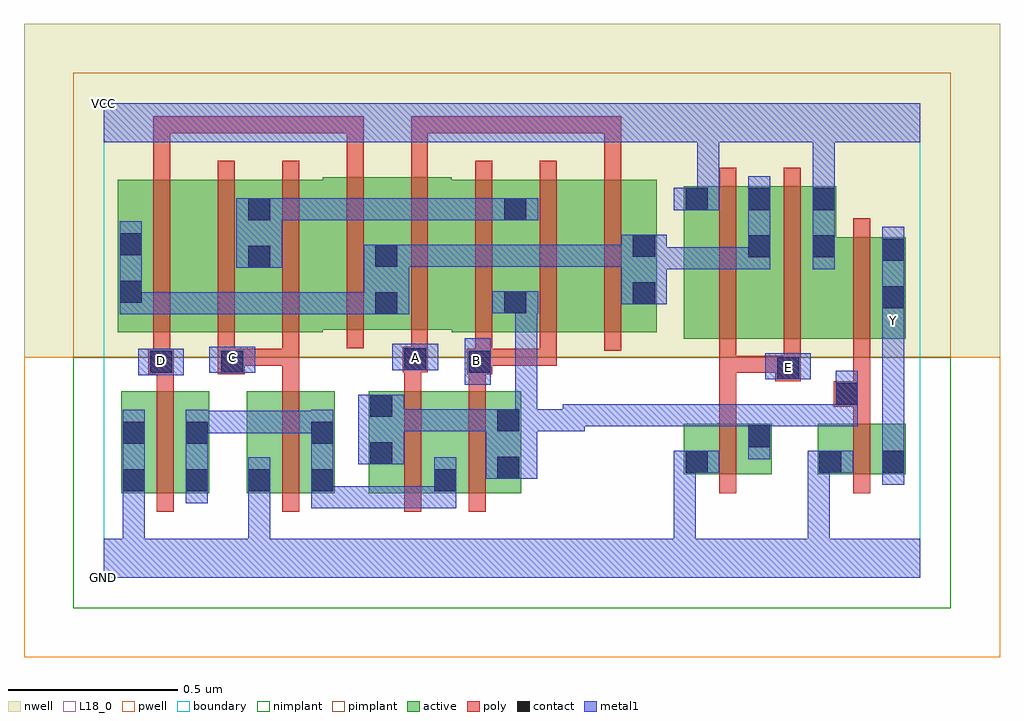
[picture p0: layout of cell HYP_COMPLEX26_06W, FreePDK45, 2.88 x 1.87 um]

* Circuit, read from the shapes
.subckt HYP_COMPLEX26_06W A B C D E GND VCC Y
M1 n1 D GND VSUBS nfet w=0.3u l=0.05u
M2 n1 C GND VSUBS nfet w=0.3u l=0.05u
M3 n1 A n2 VSUBS nfet w=0.3u l=0.05u
M4 n2 B n1 VSUBS nfet w=0.3u l=0.05u
M5 n2 E GND VSUBS nfet w=0.15u l=0.05u
M6 Y n2 GND VSUBS nfet w=0.15u l=0.05u
M7 n3 D n4 n5 pfet w=0.45u l=0.05u
M8 n2 C n3 n5 pfet w=0.45u l=0.05u
M9 n6 C n2 n5 pfet w=0.45u l=0.05u
M10 n4 D n6 n5 pfet w=0.45u l=0.05u
M11 n7 A n4 n5 pfet w=0.45u l=0.05u
M12 n2 B n7 n5 pfet w=0.45u l=0.05u
M13 n8 B n2 n5 pfet w=0.45u l=0.05u
M14 n4 A n8 n5 pfet w=0.45u l=0.05u
M15 n4 E VCC n5 pfet w=0.45u l=0.05u m=2
M16 Y n2 VCC n5 pfet w=0.3u l=0.05u
.ends

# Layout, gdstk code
import gdstk
lib = gdstk.Library(unit=1e-6, precision=1e-09)
def R(c, l, rs):  # rectangles x0, y0, x1, y1
    for r in rs: c.add(gdstk.rectangle(r[:2], r[2:], *l))
def A(c, l, x, y, w, h, nx, ny, dx, dy):  # array of equal rectangles
    R(c, l, [(x+i*dx, y+j*dy, x+i*dx+w, y+j*dy+h) for i in range(nx) for j in range(ny)])
active = (1, 0)
pwell = (2, 0)
nwell = (3, 0)
nimplant = (4, 0)
pimplant = (5, 0)
poly = (9, 0)
contact = (10, 0)
metal1 = (11, 0)
L18_0 = (18, 0)
boundary = (235, 0)

hyp_complex26_06w = lib.new_cell('HYP_COMPLEX26_06W')
A(hyp_complex26_06w, active, 0.052, 0.25, 0.075, 0.3, 4, 1, 0.185, 0)
R(hyp_complex26_06w, active, [(0.052,0.25,0.312,0.55), (0.422,0.25,0.682,0.55), (0.782,0.25,1.045,0.55), (0.97,0.25,1.232,0.55), (0.97,0.25,1.045,0.422), (1.157,0.257,1.232,0.55), (0.782,0.295,0.857,0.55), (1.712,0.305,1.787,0.455), (1.712,0.305,1.972,0.455), (1.897,0.305,1.972,0.455), (2.107,0.305,2.182,0.455), (2.107,0.305,2.367,0.455), (2.292,0.305,2.367,0.455), (1.712,0.705,1.787,1.155), (1.712,0.705,1.972,1.155), (1.897,0.705,1.972,1.155), (1.897,0.705,2.162,1.155), (2.087,0.705,2.367,1.005), (2.087,0.705,2.162,1.155), (2.292,0.705,2.367,1.005), (0.042,0.725,0.117,1.155), (0.042,0.725,0.267,1.175), (0.267,0.725,0.497,1.175), (0.422,0.725,0.497,1.175), (0.422,0.725,0.647,1.175), (1.027,0.725,1.252,1.175), (1.177,0.725,1.252,1.175), (1.177,0.725,1.407,1.175), (1.407,0.725,1.632,1.175), (1.557,0.725,1.632,1.155), (0.647,0.732,0.872,1.182), (0.797,0.732,1.027,1.182), (0.797,0.732,0.872,1.07)])
R(hyp_complex26_06w, pwell, [(-0.235,-0.235,2.645,0.65)])
R(hyp_complex26_06w, nwell, [(-0.235,0.65,2.645,1.635)])
R(hyp_complex26_06w, nimplant, [(-0.09,-0.09,2.5,0.65)])
R(hyp_complex26_06w, pimplant, [(-0.09,0.65,2.5,1.49)])
A(hyp_complex26_06w, poly, 0.147, 0.625, 0.05, 0.095, 3, 1, 0.19, 0)
A(hyp_complex26_06w, poly, 0.147, 0.67, 0.05, 0.56, 3, 1, 0.19, 0)
A(hyp_complex26_06w, poly, 1.097, 0.67, 0.05, 0.56, 3, 1, 0.19, 0)
R(hyp_complex26_06w, poly, [(0.157,0.195,0.207,0.605), (0.527,0.195,0.577,0.605), (0.887,0.195,0.937,0.605), (1.077,0.195,1.127,0.605), (1.817,0.25,1.867,0.51), (2.212,0.25,2.262,0.51), (1.817,0.46,1.867,0.655), (2.212,0.46,2.262,0.555), (2.155,0.505,2.262,0.58), (2.212,0.53,2.262,0.7), (0.157,0.555,0.207,0.65), (0.527,0.555,0.577,0.675), (0.887,0.555,0.937,0.657), (1.077,0.555,1.127,0.65), (1.982,0.58,2.057,0.655), (0.132,0.6,0.207,0.675), (0.337,0.6,0.417,0.675), (1.072,0.6,1.147,0.675), (1.817,0.605,1.867,0.7), (1.817,0.605,1.867,0.655), (1.817,0.605,2.032,0.655), (1.982,0.605,2.032,0.655), (1.982,0.605,2.032,0.655), (2.007,0.605,2.057,0.7), (0.882,0.607,0.957,0.682), (0.367,0.625,0.577,0.675), (0.527,0.625,0.577,0.675), (0.527,0.625,0.577,0.675), (0.527,0.625,0.577,0.675), (1.097,0.625,1.147,0.72), (1.097,0.625,1.337,0.675), (1.287,0.625,1.337,0.72), (1.287,0.625,1.337,0.675), (1.287,0.625,1.337,0.675), (1.287,0.625,1.337,0.675), (0.907,0.632,0.957,0.727), (1.817,0.65,1.867,1.21), (2.007,0.65,2.057,1.21), (2.212,0.65,2.262,1.06), (0.717,0.677,0.767,1.237), (0.907,0.677,0.957,1.237), (0.147,1.18,0.197,1.362), (1.477,1.18,1.527,1.362), (0.717,1.187,0.767,1.362), (0.907,1.187,0.957,1.362), (0.147,1.312,0.197,1.362), (0.147,1.312,0.33,1.362), (0.28,1.312,0.33,1.362), (0.28,1.312,0.33,1.362), (0.28,1.312,0.33,1.362), (0.28,1.312,0.55,1.362), (0.5,1.312,0.55,1.362), (0.5,1.312,0.55,1.362), (0.5,1.312,0.55,1.362), (0.5,1.312,0.767,1.362), (0.717,1.312,0.767,1.362), (0.717,1.312,0.767,1.362), (0.717,1.312,0.767,1.362), (0.907,1.312,0.957,1.362), (0.907,1.312,0.957,1.362), (0.907,1.312,0.957,1.362), (0.907,1.312,1.09,1.362), (1.04,1.312,1.09,1.362), (1.04,1.312,1.28,1.362), (1.23,1.312,1.28,1.362), (1.23,1.312,1.28,1.362), (1.23,1.312,1.28,1.362), (1.23,1.312,1.527,1.362), (1.477,1.312,1.527,1.362), (1.477,1.312,1.527,1.362), (1.477,1.312,1.527,1.362)])
A(hyp_complex26_06w, contact, 0.057, 0.255, 0.065, 0.065, 4, 1, 0.185, 0)
R(hyp_complex26_06w, contact, [(0.975,0.255,1.04,0.32), (1.162,0.292,1.227,0.357), (1.717,0.31,1.782,0.375), (2.112,0.31,2.177,0.375), (2.297,0.31,2.362,0.375), (0.787,0.335,0.852,0.4), (1.902,0.385,1.967,0.45), (0.057,0.395,0.122,0.46), (0.242,0.395,0.307,0.46), (0.612,0.395,0.677,0.46), (1.162,0.432,1.227,0.497), (0.787,0.475,0.852,0.54), (2.16,0.51,2.225,0.575), (1.987,0.585,2.052,0.65), (0.137,0.605,0.202,0.67), (0.347,0.605,0.412,0.67), (1.077,0.605,1.142,0.67), (0.887,0.612,0.952,0.677), (0.802,0.777,0.867,0.842), (1.182,0.78,1.247,0.845), (2.297,0.795,2.362,0.86), (1.562,0.807,1.627,0.872), (0.047,0.812,0.112,0.877), (0.427,0.915,0.492,0.98), (0.802,0.917,0.867,0.982), (2.297,0.935,2.362,1), (1.902,0.945,1.967,1.01), (2.092,0.945,2.157,1.01), (1.562,0.947,1.627,1.012), (0.047,0.952,0.112,1.017), (0.427,1.055,0.492,1.12), (1.182,1.055,1.247,1.12), (1.717,1.085,1.782,1.15), (1.902,1.085,1.967,1.15), (2.092,1.085,2.157,1.15)])
R(hyp_complex26_06w, metal1, [(0,0,2.41,0.115), (0.057,0.05,0.122,0.285), (0.427,0.05,0.492,0.115), (0.427,0.05,0.492,0.115), (0.427,0.05,0.492,0.115), (0.427,0.05,0.492,0.115), (0.427,0.05,0.492,0.285), (1.682,0.05,1.747,0.115), (1.682,0.05,1.747,0.115), (1.682,0.05,1.747,0.115), (1.682,0.05,1.747,0.115), (1.682,0.05,1.747,0.375), (2.077,0.05,2.142,0.115), (2.077,0.05,2.142,0.115), (2.077,0.05,2.142,0.115), (2.077,0.05,2.142,0.115), (2.077,0.05,2.142,0.115), (2.077,0.05,2.142,0.115), (2.077,0.05,2.142,0.375), (0.612,0.205,0.677,0.27), (0.612,0.205,0.677,0.27), (0.612,0.205,0.677,0.27), (0.612,0.205,0.815,0.27), (0.612,0.205,0.677,0.285), (0.75,0.205,0.815,0.27), (0.75,0.205,0.815,0.27), (0.75,0.205,0.815,0.27), (0.75,0.205,1.04,0.27), (0.975,0.205,1.04,0.355), (0.057,0.22,0.122,0.285), (0.057,0.22,0.122,0.285), (0.057,0.22,0.122,0.285), (0.057,0.22,0.122,0.285), (0.057,0.22,0.122,0.495), (0.242,0.22,0.307,0.495), (0.427,0.22,0.492,0.355), (0.612,0.22,0.677,0.495), (2.297,0.275,2.362,0.41), (1.127,0.292,1.28,0.497), (1.682,0.31,1.747,0.375), (1.682,0.31,1.747,0.375), (1.682,0.31,1.817,0.375), (2.077,0.31,2.212,0.375), (0.752,0.335,0.887,0.54), (2.297,0.345,2.362,0.757), (1.902,0.35,1.967,0.512), (0.242,0.427,0.307,0.492), (0.242,0.427,0.307,0.492), (0.242,0.427,0.54,0.492), (0.475,0.427,0.54,0.492), (0.475,0.427,0.54,0.492), (0.475,0.427,0.54,0.492), (0.475,0.427,0.677,0.492), (0.822,0.432,0.887,0.497), (0.822,0.432,0.887,0.497), (0.822,0.432,1.055,0.497), (0.99,0.432,1.055,0.497), (0.99,0.432,1.055,0.497), (0.99,0.432,1.055,0.497), (0.99,0.432,1.192,0.497), (1.215,0.432,1.42,0.497), (1.215,0.432,1.28,0.845), (1.355,0.432,1.42,0.512), (1.355,0.447,1.42,0.512), (1.355,0.447,1.42,0.512), (1.355,0.447,1.61,0.512), (1.545,0.447,1.61,0.512), (1.545,0.447,1.61,0.512), (1.545,0.447,1.61,0.512), (1.545,0.447,1.8,0.512), (1.735,0.447,1.8,0.512), (1.735,0.447,1.8,0.512), (1.735,0.447,1.8,0.512), (1.735,0.447,1.967,0.512), (1.902,0.447,1.967,0.512), (1.902,0.447,1.967,0.512), (1.902,0.447,2.225,0.512), (2.16,0.447,2.225,0.512), (2.16,0.447,2.225,0.54), (2.16,0.475,2.225,0.54), (2.16,0.475,2.225,0.54), (2.16,0.475,2.225,0.61), (1.065,0.57,1.142,0.707), (1.952,0.585,2.087,0.662), (0.102,0.597,0.237,0.675), (0.312,0.605,0.447,0.682), (0.852,0.612,0.987,0.69), (2.297,0.692,2.362,0.827), (2.297,0.76,2.362,0.825), (2.297,0.76,2.362,1.035), (0.047,0.777,0.112,0.842), (0.047,0.777,0.112,0.842), (0.047,0.777,0.112,1.052), (0.047,0.777,0.307,0.842), (0.242,0.777,0.307,0.842), (0.242,0.777,0.307,0.842), (0.242,0.777,0.307,0.842), (0.242,0.777,0.445,0.842), (0.38,0.777,0.445,0.842), (0.38,0.777,0.445,0.842), (0.38,0.777,0.445,0.842), (0.38,0.777,0.677,0.842), (0.612,0.777,0.677,0.842), (0.612,0.777,0.677,0.842), (0.612,0.777,0.677,0.842), (0.612,0.777,0.832,0.842), (0.767,0.777,0.902,0.982), (1.147,0.78,1.282,0.845), (1.215,0.78,1.28,0.845), (1.215,0.78,1.28,0.845), (1.527,0.807,1.662,1.012), (1.597,0.91,1.8,0.975), (1.735,0.91,1.8,0.975), (1.735,0.91,1.8,0.975), (1.735,0.91,1.8,0.975), (1.735,0.91,1.967,0.975), (1.902,0.91,1.967,1.185), (2.092,0.91,2.157,1.185), (0.392,0.915,0.527,1.12), (0.837,0.917,0.902,0.982), (0.837,0.917,0.902,0.982), (0.837,0.917,1.055,0.982), (0.99,0.917,1.055,0.982), (0.99,0.917,1.055,0.982), (0.99,0.917,1.055,0.982), (0.99,0.917,1.055,0.982), (0.99,0.917,1.055,0.982), (0.99,0.917,1.28,0.982), (1.215,0.917,1.28,0.982), (1.215,0.917,1.28,0.982), (1.215,0.917,1.28,0.982), (1.215,0.917,1.455,0.982), (1.39,0.917,1.455,0.982), (1.39,0.917,1.455,0.982), (1.39,0.917,1.455,0.982), (1.39,0.917,1.592,0.982), (1.527,0.917,1.592,0.982), (1.527,0.917,1.592,0.982), (0.462,1.055,0.527,1.12), (0.462,1.055,0.527,1.12), (0.462,1.055,0.677,1.12), (0.612,1.055,0.677,1.12), (0.612,1.055,0.677,1.12), (0.612,1.055,0.677,1.12), (0.612,1.055,0.815,1.12), (0.75,1.055,0.815,1.12), (0.75,1.055,0.815,1.12), (0.75,1.055,0.815,1.12), (0.75,1.055,1.055,1.12), (0.99,1.055,1.055,1.12), (0.99,1.055,1.055,1.12), (0.99,1.055,1.055,1.12), (0.99,1.055,1.212,1.12), (1.147,1.055,1.282,1.12), (1.682,1.085,1.817,1.15), (1.752,1.085,1.817,1.35), (2.092,1.12,2.157,1.185), (2.092,1.12,2.157,1.185), (2.092,1.12,2.157,1.35), (0,1.285,2.41,1.4), (1.752,1.285,1.817,1.35), (1.752,1.285,1.817,1.35)])
R(hyp_complex26_06w, L18_0, [(0,0,2.41,0.115), (0.057,0.05,0.122,0.285), (0.427,0.05,0.492,0.115), (0.427,0.05,0.492,0.115), (0.427,0.05,0.492,0.115), (0.427,0.05,0.492,0.115), (0.427,0.05,0.492,0.285), (1.682,0.05,1.747,0.115), (1.682,0.05,1.747,0.115), (1.682,0.05,1.747,0.115), (1.682,0.05,1.747,0.115), (1.682,0.05,1.747,0.375), (2.077,0.05,2.142,0.115), (2.077,0.05,2.142,0.115), (2.077,0.05,2.142,0.115), (2.077,0.05,2.142,0.115), (2.077,0.05,2.142,0.115), (2.077,0.05,2.142,0.115), (2.077,0.05,2.142,0.375), (0.057,0.22,0.122,0.285), (0.057,0.22,0.122,0.285), (0.057,0.22,0.122,0.285), (0.057,0.22,0.122,0.285), (0.057,0.22,0.122,0.495), (0.427,0.22,0.492,0.355), (2.297,0.275,2.362,0.41), (1.682,0.31,1.747,0.375), (1.682,0.31,1.747,0.375), (1.682,0.31,1.817,0.375), (2.077,0.31,2.212,0.375), (2.297,0.345,2.362,0.757), (1.065,0.57,1.142,0.707), (1.952,0.585,2.087,0.662), (1.987,0.587,2.052,0.652), (0.102,0.597,0.237,0.675), (0.312,0.605,0.447,0.682), (0.137,0.607,0.202,0.672), (1.067,0.607,1.132,0.672), (0.852,0.612,0.987,0.69), (0.347,0.617,0.412,0.682), (0.887,0.617,0.952,0.682), (2.297,0.692,2.362,0.827), (2.297,0.727,2.362,0.792), (2.297,0.76,2.362,0.825), (2.297,0.76,2.362,1.035), (2.092,0.91,2.157,1.185), (1.682,1.085,1.817,1.15), (1.752,1.085,1.817,1.35), (2.092,1.12,2.157,1.185), (2.092,1.12,2.157,1.185), (2.092,1.12,2.157,1.35), (0,1.285,2.41,1.4), (1.752,1.285,1.817,1.35), (1.752,1.285,1.817,1.35)])
R(hyp_complex26_06w, boundary, [(0,0,2.41,1.4)])
hyp_complex26_06w.add(gdstk.Label('A', (0.92,0.65), layer=11, texttype=0))
hyp_complex26_06w.add(gdstk.Label('B', (1.1,0.64), layer=11, texttype=0))
hyp_complex26_06w.add(gdstk.Label('C', (0.38,0.65), layer=11, texttype=0))
hyp_complex26_06w.add(gdstk.Label('D', (0.17,0.64), layer=11, texttype=0))
hyp_complex26_06w.add(gdstk.Label('E', (2.02,0.62), layer=11, texttype=0))
hyp_complex26_06w.add(gdstk.Label('Y', (2.33,0.76), layer=11, texttype=0))
hyp_complex26_06w.add(gdstk.Label('VCC', (0,1.4), layer=11, texttype=0))
hyp_complex26_06w.add(gdstk.Label('GND', (0,0), layer=11, texttype=0))

lib.write_gds('HYP_COMPLEX26_06W.gds')
